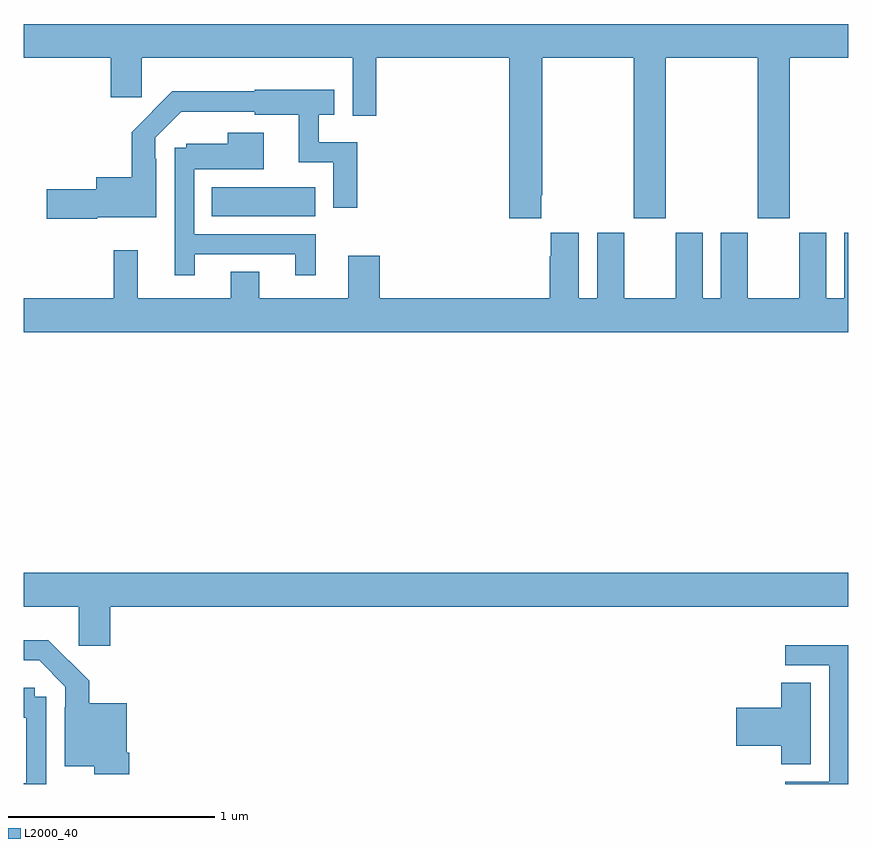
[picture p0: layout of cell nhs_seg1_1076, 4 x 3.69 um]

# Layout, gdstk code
import gdstk
lib = gdstk.Library(unit=1e-6, precision=1e-09)
def R(c, l, rs):  # rectangles x0, y0, x1, y1
    for r in rs: c.add(gdstk.rectangle(r[:2], r[2:], *l))
def P(c, l, *ps):  # polygons
    for p in ps: c.add(gdstk.Polygon(p, *l))
L2000_40 = (2000, 40)

nhs_seg1_1076 = lib.new_cell('nhs_seg1_1076')
R(nhs_seg1_1076, L2000_40, [(169.912,558.956,170.413,559.096)])
P(nhs_seg1_1076, L2000_40, [(169,559.724),(169.421,559.724),(169.421,559.533),(169.571,559.533),(169.571,559.724),(170.595,559.724),(170.595,559.443),(170.711,559.443),(170.711,559.724),(171.356,559.724),(171.356,558.945),(171.511,558.945),(171.511,559.057),(171.516,559.057),(171.516,559.724),(171.961,559.724),(171.961,558.945),(172.116,558.945),(172.116,559.724),(172.561,559.724),(172.561,558.945),(172.716,558.945),(172.716,559.724),(173,559.724),(173,559.888),(169,559.888)],
  [(169.356,558.95),(169.641,558.95),(169.641,559.235),(169.638,559.235),(169.638,559.335),(169.764,559.461),(170.121,559.461),(170.121,559.448),(170.333,559.448),(170.333,559.218),(170.502,559.218),(170.502,558.996),(170.618,558.996),(170.618,559.314),(170.431,559.314),(170.431,559.448),(170.506,559.448),(170.506,559.57),(170.121,559.57),(170.121,559.561),(169.72,559.561),(169.523,559.363),(169.523,559.144),(169.352,559.144),(169.352,559.085),(169.11,559.085),(169.11,558.943),(169.356,558.943)],
  [(169.828,558.771),(170.318,558.771),(170.318,558.669),(170.416,558.669),(170.416,558.867),(169.827,558.867),(169.827,559.184),(170.164,559.184),(170.164,559.36),(169.988,559.36),(169.988,559.306),(169.788,559.306),(169.788,559.287),(169.731,559.287),(169.731,558.669),(169.828,558.669)],
  [(173,558.874),(172.982,558.874),(172.982,558.556),(172.894,558.556),(172.894,558.874),(172.763,558.874),(172.763,558.556),(172.513,558.556),(172.513,558.874),(172.382,558.874),(172.382,558.556),(172.294,558.556),(172.294,558.874),(172.163,558.874),(172.163,558.556),(171.913,558.556),(171.913,558.874),(171.782,558.874),(171.782,558.556),(171.694,558.556),(171.694,558.874),(171.557,558.874),(171.557,558.761),(171.551,558.761),(171.551,558.556),(170.726,558.556),(170.726,558.763),(170.573,558.763),(170.573,558.556),(170.143,558.556),(170.143,558.686),(170.003,558.686),(170.003,558.556),(169.553,558.556),(169.553,558.79),(169.435,558.79),(169.435,558.556),(169,558.556),(169,558.392),(173,558.392)],
  [(169.418,557.06),(173,557.06),(173,557.224),(169,557.224),(169,557.06),(169.267,557.06),(169.267,556.869),(169.418,556.869)],
  [(169.511,556.351),(169.498,556.351),(169.498,556.591),(169.316,556.591),(169.316,556.699),(169.118,556.897),(169,556.897),(169,556.799),(169.073,556.799),(169.2,556.671),(169.2,556.571),(169.197,556.571),(169.197,556.286),(169.34,556.286),(169.34,556.247),(169.511,556.247)],
  [(173,556.872),(172.695,556.872),(172.695,556.776),(172.908,556.776),(172.908,556.209),(172.695,556.209),(172.695,556.199),(173,556.199)],
  [(172.819,556.691),(172.676,556.691),(172.676,556.568),(172.458,556.568),(172.458,556.385),(172.676,556.385),(172.676,556.294),(172.819,556.294)],
  [(169.107,556.623),(169.053,556.623),(169.053,556.666),(169,556.666),(169,556.52),(169.011,556.52),(169.011,556.203),(169,556.203),(169,556.199),(169.107,556.199)])

lib.write_gds('nhs_seg1_1076.gds')
